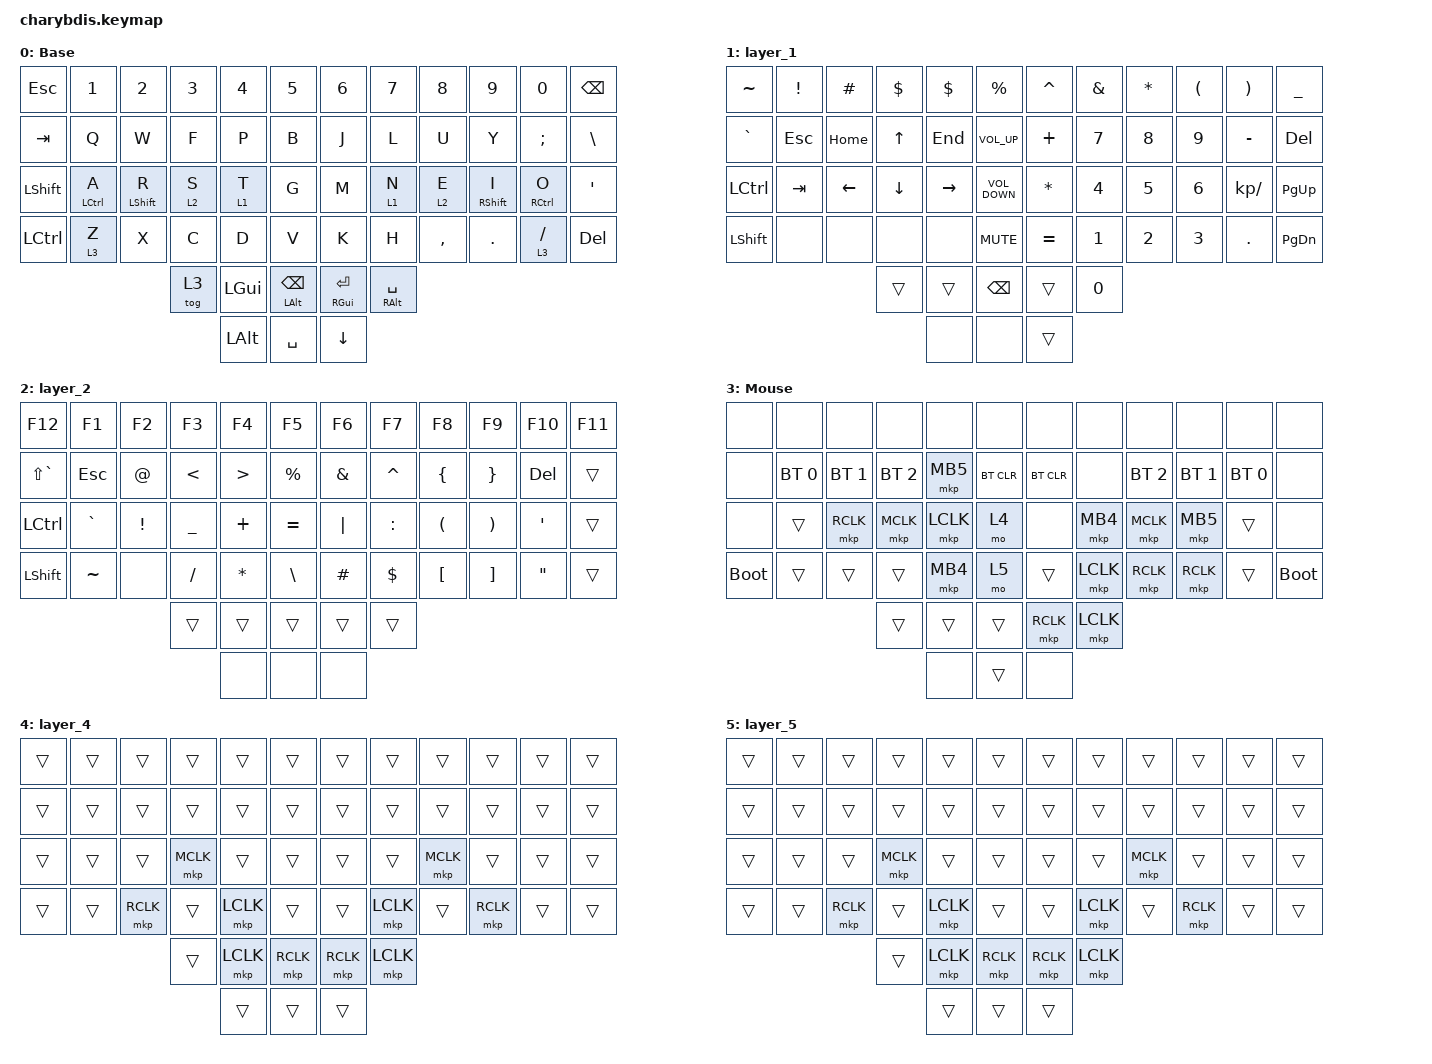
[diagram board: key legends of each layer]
#include <behaviors.dtsi>
#include <dt-bindings/zmk/bt.h>
#include <dt-bindings/zmk/keys.h>
#include <dt-bindings/zmk/mouse.h>

&lt {
    tapping-term-ms = <200>;
    flavor = "balanced";
    quick-tap-ms = <150>;
};

&mt {
    flavor = "tap-preferred";
    tapping_term_ms = <180>;
};

/ {
    combos {
        compatible = "zmk,combos";

        // right hand

        combo_esc {
            timeout-ms = <50>;
            key-positions = <31 32>;
            bindings = <&kp ESC>;
        };

        combo_fullscreen {
            timeout-ms = <50>;
            key-positions = <42 43>;
            bindings = <&kp F11>;
        };

        combo_wkspc_up {
            timeout-ms = <50>;
            key-positions = <22 34>;
            bindings = <&kp LC(UP)>;
        };

        combo_wkspc_down {
            timeout-ms = <50>;
            key-positions = <46 34>;
            bindings = <&kp LC(DOWN)>;
        };

        combo_win_up {
            timeout-ms = <50>;
            key-positions = <21 20>;
            bindings = <&kp LS(LG(UP))>;
        };

        combo_win_down {
            timeout-ms = <50>;
            key-positions = <44 45>;
            bindings = <&kp LS(LG(DOWN))>;
        };

        combo_win_left {
            timeout-ms = <50>;
            key-positions = <33 32>;
            bindings = <&kp LS(LG(LEFT))>;
        };

        combo_win_right {
            timeout-ms = <50>;
            key-positions = <22 33>;
            bindings = <&kp LS(LG(RIGHT))>;
        };

        combo_rdelete {
            timeout-ms = <50>;
            key-positions = <30 31>;
            bindings = <&kp DELETE>;
        };

        // left hand

        combo_zoomin {
            timeout-ms = <50>;
            key-positions = <16 17>;
            bindings = <&kp LC(PLUS)>;
        };

        combo_zoomout {
            timeout-ms = <50>;
            key-positions = <40 41>;
            bindings = <&kp LC(MINUS)>;
        };

        combo_pgdn {
            timeout-ms = <50>;
            key-positions = <39 40>;
            bindings = <&kp PG_DN>;
        };

        combo_pgup {
            timeout-ms = <50>;
            key-positions = <15 16>;
            bindings = <&kp PG_UP>;
        };

        combo_ldelete {
            timeout-ms = <50>;
            key-positions = <28 29>;
            bindings = <&kp DELETE>;
        };

        // symbols

        combo_underscore {
            timeout-ms = <50>;
            key-positions = <27 26>;
            bindings = <&kp UNDERSCORE>;
        };

        combo_minus {
            timeout-ms = <50>;
            key-positions = <27 28>;
            bindings = <&kp MINUS>;
        };

        // others

        combo_capswd {
            timeout-ms = <50>;
            key-positions = <15 20>;
            bindings = <&caps_word>;
        };
    };

    keymap {
        compatible = "zmk,keymap";

        Base {
            bindings = <
&kp ESC         &kp N1       &kp N2            &kp N3   &kp N4        &kp N5               &kp N6          &kp N7          &kp N8     &kp N9             &kp N0         &kp BSPC
&kp TAB         &kp Q        &kp W             &kp F    &kp P         &kp B                &kp J           &kp L           &kp U      &kp Y              &kp SEMICOLON  &kp BACKSLASH
&kp LEFT_SHIFT  &mt LCTRL A  &mt LEFT_SHIFT R  &lt 2 S  &lt 1 T       &kp G                &kp M           &lt 1 N         &lt 2 E    &mt RIGHT_SHIFT I  &mt RCTRL O    &kp APOS
&kp LCTRL       &lt 3 Z      &kp X             &kp C    &kp D         &kp V                &kp K           &kp H           &kp COMMA  &kp DOT            &lt 3 SLASH    &kp DELETE
                                               &tog 3   &kp LEFT_GUI  &mt LEFT_ALT BSPC    &mt RGUI RET    &mt RALT SPACE
                                                        &kp LEFT_ALT  &kp SPACE            &kp DOWN_ARROW
            >;

            trackball-bindings = <&tmv_coarse>;
        };

        layer_1 {
            bindings = <
&kp TILDE         &kp EXCLAMATION  &kp HASH  &kp DOLLAR  &kp DOLLAR  &kp PERCENT          &kp CARET  &kp AMPERSAND  &kp ASTERISK  &kp LEFT_PARENTHESIS  &kp RIGHT_PARENTHESIS  &kp UNDERSCORE
&kp GRAVE         &kp ESC          &kp HOME  &kp UP      &kp END     &kp C_VOLUME_UP      &kp PLUS   &kp N7         &kp N8        &kp N9                &kp MINUS              &kp DEL
&kp LEFT_CONTROL  &kp TAB          &kp LEFT  &kp DOWN    &kp RIGHT   &kp C_VOLUME_DOWN    &kp ASTRK  &kp N4         &kp N5        &kp N6                &kp KP_DIVIDE          &kp PAGE_UP
&kp LSHFT         &none            &none     &none       &none       &kp C_MUTE           &kp EQUAL  &kp N1         &kp N2        &kp N3                &kp DOT                &kp PAGE_DOWN
                                             &trans      &trans      &kp BSPC             &trans     &kp N0
                                                         &none       &none                &trans
            >;
        };

        layer_2 {
            bindings = <
&kp F12           &kp F1     &kp F2    &kp F3     &kp F4    &kp F5       &kp F6    &kp F7     &kp F8    &kp F9    &kp F10  &kp F11
&kp LS(GRAVE)     &kp ESC    &kp AT    &kp LT     &kp GT    &kp PRCNT    &kp AMPS  &kp CARET  &kp LBRC  &kp RBRC  &kp DEL  &trans
&kp LEFT_CONTROL  &kp GRAVE  &kp EXCL  &kp UNDER  &kp PLUS  &kp EQUAL    &kp PIPE  &kp COLON  &kp LPAR  &kp RPAR  &kp SQT  &trans
&kp LEFT_SHIFT    &kp TILDE  &none     &kp SLASH  &kp STAR  &kp BSLH     &kp HASH  &kp DLLR   &kp LBKT  &kp RBKT  &kp DQT  &trans
                                       &trans     &trans    &trans       &trans    &trans
                                                  &none     &none        &none
            >;
        };

        Mouse {
            bindings = <
&none        &none         &none         &none         &none      &none         &none       &none      &none         &none         &none         &none
&none        &bt BT_SEL 0  &bt BT_SEL 1  &bt BT_SEL 2  &mkp MB5   &bt BT_CLR    &bt BT_CLR  &none      &bt BT_SEL 2  &bt BT_SEL 1  &bt BT_SEL 0  &none
&none        &trans        &mkp RCLK     &mkp MCLK     &mkp LCLK  &mo 4         &none       &mkp MB4   &mkp MCLK     &mkp MB5      &trans        &none
&bootloader  &trans        &trans        &trans        &mkp MB4   &mo 5         &trans      &mkp LCLK  &mkp RCLK     &mkp RCLK     &trans        &bootloader
                                         &trans        &trans     &trans        &mkp RCLK   &mkp LCLK
                                                       &none      &trans        &none
            >;
        };

        layer_4 {
            bindings = <
&trans  &trans  &trans     &trans     &trans     &trans       &trans     &trans     &trans     &trans     &trans  &trans
&trans  &trans  &trans     &trans     &trans     &trans       &trans     &trans     &trans     &trans     &trans  &trans
&trans  &trans  &trans     &mkp MCLK  &trans     &trans       &trans     &trans     &mkp MCLK  &trans     &trans  &trans
&trans  &trans  &mkp RCLK  &trans     &mkp LCLK  &trans       &trans     &mkp LCLK  &trans     &mkp RCLK  &trans  &trans
                           &trans     &mkp LCLK  &mkp RCLK    &mkp RCLK  &mkp LCLK
                                      &trans     &trans       &trans
            >;

            trackball-bindings = <&tsl>;//滚轮层
        };

        layer_5 {
            bindings = <
&trans  &trans  &trans     &trans     &trans     &trans       &trans     &trans     &trans     &trans     &trans  &trans
&trans  &trans  &trans     &trans     &trans     &trans       &trans     &trans     &trans     &trans     &trans  &trans
&trans  &trans  &trans     &mkp MCLK  &trans     &trans       &trans     &trans     &mkp MCLK  &trans     &trans  &trans
&trans  &trans  &mkp RCLK  &trans     &mkp LCLK  &trans       &trans     &mkp LCLK  &trans     &mkp RCLK  &trans  &trans
                           &trans     &mkp LCLK  &mkp RCLK    &mkp RCLK  &mkp LCLK
                                      &trans     &trans       &trans
            >;

            trackball-bindings = <&tmv_fine>;//精准指针层
        };
    };
};
